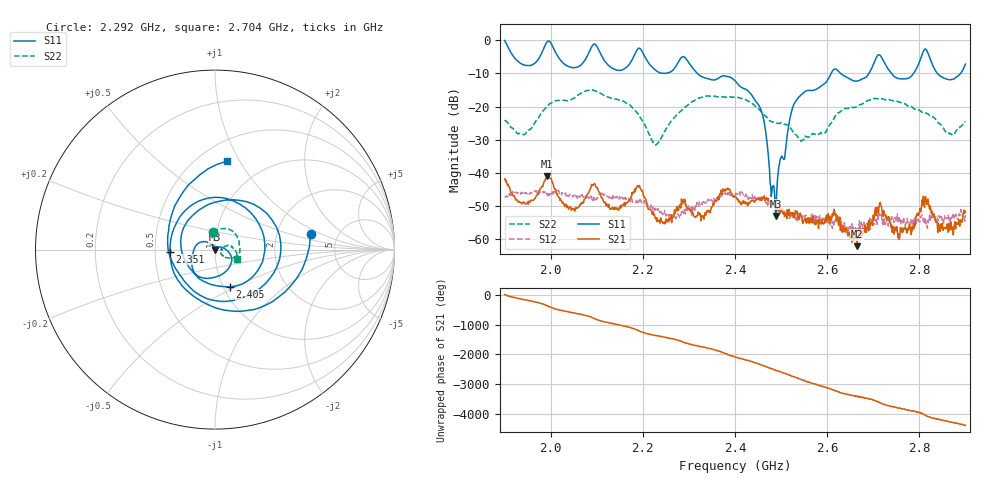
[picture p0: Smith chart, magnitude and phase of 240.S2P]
! C:\Users\rflab\Downloads\Lab5_KD_ZW\240.S2P
! Touchstone 1.1 file saved by VNA.EXE V1.65 (www.ke5fx.com/gpib/readme.htm)
! 11/12/2024 12:24:34 AM
!  Source: HEWLETT PACKARD,8753D,0,6.14
!  Min freq: 1.900000E+009 Hz
!  Max freq: 2.900000E+009 Hz
!  Points: 801
!  Params: S11 S21 S12 S22
# GHZ S RI R 50
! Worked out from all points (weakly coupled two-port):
!   801 points, 1.9 GHz to 2.9 GHz, reference 50 ohm
!   highest |S21| = -40.98 dB at 1.992 GHz (marker M1); lowest = -62.2 dB at 2.665 GHz (marker M2)
!   lowest |S11| = -53.0 dB at 2.489 GHz (marker M3), VSWR 1.00, Z = 49.8 - j0.109 ohm
!   |S11| at or under -10 dB: 2.318 GHz to 2.608 GHz (290.1 MHz wide, 11.8 % of centre); 2.629 GHz to 2.691 GHz (61.54 MHz wide, 2.31 % of centre); 2.839 GHz to 2.89 GHz (50.28 MHz wide, 1.76 % of centre) (the widest 3 of 4)
!   |S22| runs from -31.6 to -15.0 dB; largest |S21 - S12| = 0.0042
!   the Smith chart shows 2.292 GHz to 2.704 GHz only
!   S11 on the Smith chart (normalised r, x): 2.292 GHz: 3.13, +0.77; 2.351 GHz: 0.60, -0.01; 2.405 GHz: 1.08, -0.47; 2.704 GHz: 0.68, +0.89
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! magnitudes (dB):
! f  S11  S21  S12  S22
! 1.9 GHz  0.0  -42.0  -47.5  -24.1
! 1.946 GHz  -7.6  -49.4  -46.0  -28.0
! 1.992 GHz  -0.4  -41.0  -46.2  -20.0
! 2.067 GHz  -7.2  -49.2  -47.2  -15.9
! 2.154 GHz  -9.0  -50.4  -47.8  -18.2
! 2.19 GHz  -2.5  -44.1  -48.8  -22.3
! 2.234 GHz  -9.6  -54.7  -51.0  -30.8
! 2.292 GHz  -5.4  -49.8  -52.4  -20.1
! 2.351 GHz  -12.0  -50.1  -48.8  -16.8
! 2.4 GHz  -12.2  -47.2  -46.6  -17.1
! 2.405 GHz  -13.0  -48.1  -46.4  -17.2
! 2.456 GHz  -21.0  -47.4  -47.6  -21.5
! 2.489 GHz  -53.0  -49.9  -51.5  -24.9
! 2.526 GHz  -19.9  -52.1  -53.3  -27.7
! 2.567 GHz  -15.2  -55.2  -54.4  -28.2
! 2.665 GHz  -12.3  -62.2  -56.8  -19.9
! 2.704 GHz  -6.1  -51.4  -54.1  -17.6
! 2.734 GHz  -9.0  -53.3  -53.9  -17.9
! 2.785 GHz  -10.4  -57.5  -55.7  -20.2
! 2.812 GHz  -2.7  -47.3  -55.2  -22.0
! 2.849 GHz  -11.1  -56.8  -53.7  -25.8
! 2.9 GHz  -7.2  -51.7  -52.8  -24.5
